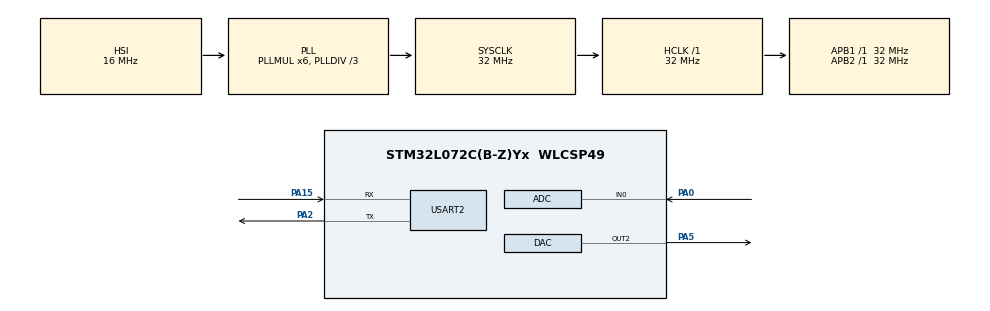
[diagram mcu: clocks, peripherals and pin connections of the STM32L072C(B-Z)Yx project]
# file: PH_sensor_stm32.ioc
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ADC.ClockPrescaler=ADC_CLOCK_ASYNC_DIV64
ADC.ContinuousConvMode=DISABLE
ADC.DMAContinuousRequests=ENABLE
Dma.ADC.0.Direction=DMA_PERIPH_TO_MEMORY
Dma.ADC.0.Instance=DMA1_Channel1
Dma.ADC.0.MemDataAlignment=DMA_MDATAALIGN_HALFWORD
Dma.ADC.0.MemInc=DMA_MINC_ENABLE
Dma.ADC.0.Mode=DMA_NORMAL
Dma.ADC.0.PeriphDataAlignment=DMA_PDATAALIGN_HALFWORD
Dma.ADC.0.PeriphInc=DMA_PINC_DISABLE
Dma.ADC.0.Priority=DMA_PRIORITY_LOW
Dma.Request0=ADC
Mcu.Family=STM32L0
Mcu.Name=STM32L072C(B-Z)Yx
Mcu.Package=WLCSP49
NVIC.DMA1_Channel1_IRQn=true\:0\:0\:false\:false\:true\:false\:true\:true
PA0.Mode=IN0
PA0.Signal=ADC_IN0
PA15.Mode=Asynchronous
PA15.Signal=USART2_RX
PA2.Mode=Asynchronous
PA2.Signal=USART2_TX
PA5.Signal=COMP_DAC2_group
ProjectManager.HeapSize=0x200
ProjectManager.StackSize=0x400
ProjectManager.TargetToolchain=STM32CubeIDE
RCC.AHBFreq_Value=32000000
RCC.APB1Freq_Value=32000000
RCC.APB1TimFreq_Value=32000000
RCC.APB2Freq_Value=32000000
RCC.APB2TimFreq_Value=32000000
RCC.HCLKFreq_Value=32000000
RCC.HSE_VALUE=8000000
RCC.HSI16_VALUE=16000000
RCC.HSI48_VALUE=48000000
RCC.HSI_VALUE=16000000
RCC.LSE_VALUE=32768
RCC.MSI_VALUE=2097000
RCC.PLLDIV=RCC_PLLDIV_3
RCC.PLLMUL=RCC_PLLMUL_6
RCC.SYSCLKFreq_VALUE=32000000
RCC.SYSCLKSource=RCC_SYSCLKSOURCE_PLLCLK
RCC.VCOOutputFreq_Value=96000000
SH.COMP_DAC2_group.0=DAC_OUT2,DAC_OUT2
USART2.VirtualMode-Asynchronous=VM_ASYNC
board=B-L072Z-LRWAN1

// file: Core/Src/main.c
/* USER CODE BEGIN Header */
/**
  ******************************************************************************
  * @file           : main.c
  * @brief          : Main program body
  ******************************************************************************
  * @attention
  *
  * Copyright (c) 2024 STMicroelectronics.
  * All rights reserved.
  *
  * This software is licensed under terms that can be found in the LICENSE file
  * in the root directory of this software component.
  * If no LICENSE file comes with this software, it is provided AS-IS.
  *
  ******************************************************************************
  */
/* USER CODE END Header */
#include "main.h"

ADC_HandleTypeDef hadc;
DMA_HandleTypeDef hdma_adc;

DAC_HandleTypeDef hdac;

UART_HandleTypeDef huart2;

void SystemClock_Config(void);
static void MX_GPIO_Init(void);
static void MX_DMA_Init(void);
static void MX_ADC_Init(void);
static void MX_DAC_Init(void);
static void MX_USART2_UART_Init(void);

int main(void)
{
  /* USER CODE BEGIN 1 */
	 uint16_t AD_RES = 0;
	 uint16_t received_data[50];
	 uint16_t received_data_01[50];

  /* USER CODE END 1 */

  /* MCU Configuration--------------------------------------------------------*/

  /* Reset of all peripherals, Initializes the Flash interface and the Systick. */
  HAL_Init();

  /* Configure the system clock */
  SystemClock_Config();

  /* Initialize all configured peripherals */
  MX_GPIO_Init();
  MX_DMA_Init();
  MX_ADC_Init();
  MX_DAC_Init();
  MX_USART2_UART_Init();

  /* Infinite loop */
  while (1)
  {

    /* USER CODE BEGIN 3 */
	  // Start ADC Conversion
	  HAL_ADC_Start(&hadc);
	         // Poll ADC1 Perihperal & TimeOut = 1mSec
	  HAL_ADC_PollForConversion(&hadc, 1);
	  AD_RES = HAL_ADC_GetValue(&hadc);
	  TIM2->CCR1 = (AD_RES<<4);
	  HAL_Delay(1);

	  char arr[20];
	  //sprintf(arr, "AnalogRead:%u\n\r", AD_RES);
	  //HAL_UART_Transmit(&huart2,(uint8_t*)arr,strlen(arr),10);

	  char buffer[10];
	  for(int i = 0; i <= 9; i++)
	  {
		  HAL_ADC_Start(&hadc);
		         // Poll ADC1 Perihperal & TimeOut = 1mSec
		  HAL_ADC_PollForConversion(&hadc, 1);
		  AD_RES = HAL_ADC_GetValue(&hadc);
		  TIM2->CCR1 = (AD_RES<<4);
		  HAL_Delay(1);
		  received_data[i] = AD_RES;
		  sprintf(buffer, "Received data [%d] %d \r \n", i,  received_data[i]);
		  //HAL_UART_Transmit(&huart2, (uint16_t *)buffer, strlen(buffer), 10000);
		  HAL_Delay(1000);
	  }

	  uint16_t temp = 0;
	  char buffer_01[10];
	  for(int i=0;i<9;i++)        //sort the analog from small to large
	    {
	      for(int j=i+1;j<10;j++)
	      {
	        if( received_data[i] > received_data[j])
	        {
	          temp= received_data[i] ;
	          received_data[i] = received_data[j];
	          received_data[j] = temp;
	        }
	      }
		  sprintf(buffer, "Ascending received data [%d] %d \r \n", i,  received_data[i]);
		  //HAL_UART_Transmit(&huart2, (uint16_t *)buffer_01, strlen(buffer_01), 1000);
	    }

	  uint16_t avg_value = 0;
	  for(int i = 2; i < 8; i++)
	  {
		  avg_value = avg_value + received_data[i];
	  }

	  float phValue = (float)avg_value*5.0/4096/6;
	  phValue = 3.5 * phValue;

	  char buffer_02[10];
	  sprintf(buffer_02, "Received pH value: %f \r \n", phValue);
	  HAL_UART_Transmit(&huart2, (uint16_t *)buffer_02, strlen(buffer_02), 1000);
	  //HAL_Delay(1000);

/*
	  char buffer_01[10];
	  for(int j=0; j<9; j++)
	  {
		  sprintf(buffer, "Received data [%d] %d \r \n", j,  received_data[j]);
		  HAL_UART_Transmit(&huart2, (uint16_t *)buffer_01, strlen(buffer_01), 1000);
	  }
*/
  }
  /* USER CODE END 3 */
}

void SystemClock_Config(void)
{
  RCC_OscInitTypeDef RCC_OscInitStruct = {0};
  RCC_ClkInitTypeDef RCC_ClkInitStruct = {0};
  RCC_PeriphCLKInitTypeDef PeriphClkInit = {0};

  /** Configure the main internal regulator output voltage
  */
  __HAL_PWR_VOLTAGESCALING_CONFIG(PWR_REGULATOR_VOLTAGE_SCALE1);

  /** Initializes the RCC Oscillators according to the specified parameters
  * in the RCC_OscInitTypeDef structure.
  */
  RCC_OscInitStruct.OscillatorType = RCC_OSCILLATORTYPE_HSI;
  RCC_OscInitStruct.HSIState = RCC_HSI_ON;
  RCC_OscInitStruct.HSICalibrationValue = RCC_HSICALIBRATION_DEFAULT;
  RCC_OscInitStruct.PLL.PLLState = RCC_PLL_ON;
  RCC_OscInitStruct.PLL.PLLSource = RCC_PLLSOURCE_HSI;
  RCC_OscInitStruct.PLL.PLLMUL = RCC_PLLMUL_6;
  RCC_OscInitStruct.PLL.PLLDIV = RCC_PLLDIV_3;
  if (HAL_RCC_OscConfig(&RCC_OscInitStruct) != HAL_OK)
  {
    Error_Handler();
  }

  /** Initializes the CPU, AHB and APB buses clocks
  */
  RCC_ClkInitStruct.ClockType = RCC_CLOCKTYPE_HCLK|RCC_CLOCKTYPE_SYSCLK
                              |RCC_CLOCKTYPE_PCLK1|RCC_CLOCKTYPE_PCLK2;
  RCC_ClkInitStruct.SYSCLKSource = RCC_SYSCLKSOURCE_PLLCLK;
  RCC_ClkInitStruct.AHBCLKDivider = RCC_SYSCLK_DIV1;
  RCC_ClkInitStruct.APB1CLKDivider = RCC_HCLK_DIV1;
  RCC_ClkInitStruct.APB2CLKDivider = RCC_HCLK_DIV1;

  if (HAL_RCC_ClockConfig(&RCC_ClkInitStruct, FLASH_LATENCY_1) != HAL_OK)
  {
    Error_Handler();
  }
  PeriphClkInit.PeriphClockSelection = RCC_PERIPHCLK_USART2;
  PeriphClkInit.Usart2ClockSelection = RCC_USART2CLKSOURCE_PCLK1;
  if (HAL_RCCEx_PeriphCLKConfig(&PeriphClkInit) != HAL_OK)
  {
    Error_Handler();
  }
}

static void MX_ADC_Init(void)
{

  ADC_ChannelConfTypeDef sConfig = {0};

  /** Configure the global features of the ADC (Clock, Resolution, Data Alignment and number of conversion)
  */
  hadc.Instance = ADC1;
  hadc.Init.OversamplingMode = DISABLE;
  hadc.Init.ClockPrescaler = ADC_CLOCK_ASYNC_DIV64;
  hadc.Init.Resolution = ADC_RESOLUTION_12B;
  hadc.Init.SamplingTime = ADC_SAMPLETIME_1CYCLE_5;
  hadc.Init.ScanConvMode = ADC_SCAN_DIRECTION_FORWARD;
  hadc.Init.DataAlign = ADC_DATAALIGN_RIGHT;
  hadc.Init.ContinuousConvMode = DISABLE;
  hadc.Init.DiscontinuousConvMode = DISABLE;
  hadc.Init.ExternalTrigConvEdge = ADC_EXTERNALTRIGCONVEDGE_NONE;
  hadc.Init.ExternalTrigConv = ADC_SOFTWARE_START;
  hadc.Init.DMAContinuousRequests = ENABLE;
  hadc.Init.EOCSelection = ADC_EOC_SINGLE_CONV;
  hadc.Init.Overrun = ADC_OVR_DATA_PRESERVED;
  hadc.Init.LowPowerAutoWait = DISABLE;
  hadc.Init.LowPowerFrequencyMode = ENABLE;
  hadc.Init.LowPowerAutoPowerOff = DISABLE;
  if (HAL_ADC_Init(&hadc) != HAL_OK)
  {
    Error_Handler();
  }

  /** Configure for the selected ADC regular channel to be converted.
  */
  sConfig.Channel = ADC_CHANNEL_0;
  sConfig.Rank = ADC_RANK_CHANNEL_NUMBER;
  if (HAL_ADC_ConfigChannel(&hadc, &sConfig) != HAL_OK)
  {
    Error_Handler();
  }

}

static void MX_DAC_Init(void)
{

  DAC_ChannelConfTypeDef sConfig = {0};

  /** DAC Initialization
  */
  hdac.Instance = DAC;
  if (HAL_DAC_Init(&hdac) != HAL_OK)
  {
    Error_Handler();
  }

  /** DAC channel OUT2 config
  */
  sConfig.DAC_Trigger = DAC_TRIGGER_NONE;
  sConfig.DAC_OutputBuffer = DAC_OUTPUTBUFFER_ENABLE;
  if (HAL_DAC_ConfigChannel(&hdac, &sConfig, DAC_CHANNEL_2) != HAL_OK)
  {
    Error_Handler();
  }

}

static void MX_USART2_UART_Init(void)
{

  huart2.Instance = USART2;
  huart2.Init.BaudRate = 115200;
  huart2.Init.WordLength = UART_WORDLENGTH_8B;
  huart2.Init.StopBits = UART_STOPBITS_1;
  huart2.Init.Parity = UART_PARITY_NONE;
  huart2.Init.Mode = UART_MODE_TX_RX;
  huart2.Init.HwFlowCtl = UART_HWCONTROL_NONE;
  huart2.Init.OverSampling = UART_OVERSAMPLING_16;
  huart2.Init.OneBitSampling = UART_ONE_BIT_SAMPLE_DISABLE;
  huart2.AdvancedInit.AdvFeatureInit = UART_ADVFEATURE_NO_INIT;
  if (HAL_UART_Init(&huart2) != HAL_OK)
  {
    Error_Handler();
  }

}

static void MX_DMA_Init(void)
{

  /* DMA controller clock enable */
  __HAL_RCC_DMA1_CLK_ENABLE();

  /* DMA interrupt init */
  /* DMA1_Channel1_IRQn interrupt configuration */
  HAL_NVIC_SetPriority(DMA1_Channel1_IRQn, 0, 0);
  HAL_NVIC_EnableIRQ(DMA1_Channel1_IRQn);

}

static void MX_GPIO_Init(void)
{

  /* GPIO Ports Clock Enable */
  __HAL_RCC_GPIOA_CLK_ENABLE();

}

void Error_Handler(void)
{
  __disable_irq();
  while (1)
  {
  }
}
